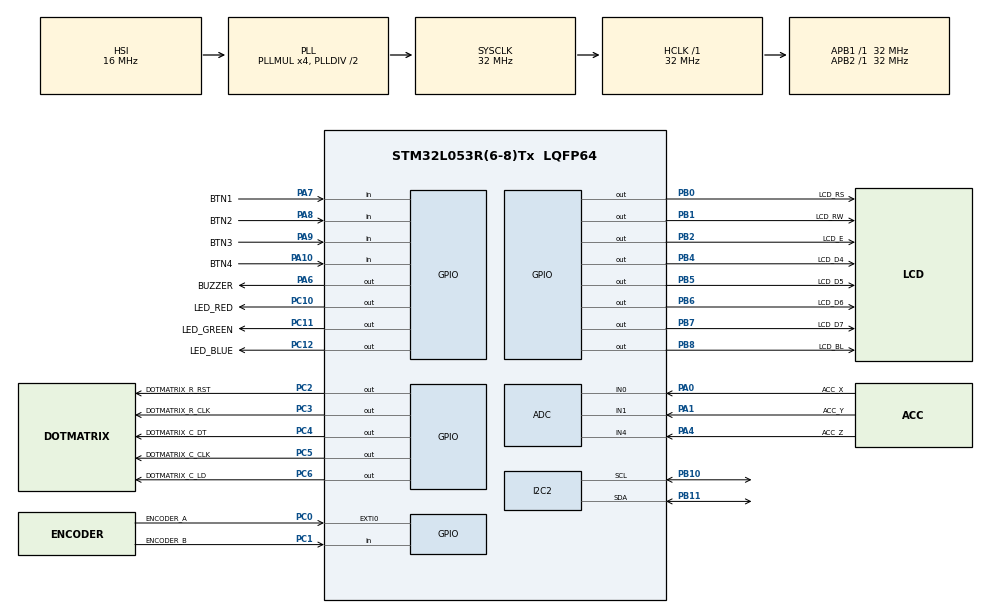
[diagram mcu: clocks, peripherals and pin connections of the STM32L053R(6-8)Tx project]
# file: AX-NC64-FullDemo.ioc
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ADC.ContinuousConvMode=ENABLE
ADC.DMAContinuousRequests=ENABLE
ADC.SamplingTime=ADC_SAMPLETIME_160CYCLES_5
Dma.ADC.0.Direction=DMA_PERIPH_TO_MEMORY
Dma.ADC.0.Instance=DMA1_Channel1
Dma.ADC.0.MemDataAlignment=DMA_MDATAALIGN_HALFWORD
Dma.ADC.0.MemInc=DMA_MINC_ENABLE
Dma.ADC.0.Mode=DMA_CIRCULAR
Dma.ADC.0.PeriphDataAlignment=DMA_PDATAALIGN_HALFWORD
Dma.ADC.0.PeriphInc=DMA_PINC_DISABLE
Dma.ADC.0.Priority=DMA_PRIORITY_LOW
Dma.Request0=ADC
FREERTOS.Tasks01=defaultTask,0,64,StartDefaultTask,Default,NULL,Dynamic,NULL,NULL;DotMatrix,-3,64,DotMatrixTask,Default,NULL,Dynamic,NULL,NULL;LCD,-3,64,LCDTask,Default,NULL,Dynamic,NULL,NULL;Sound,-3,64,SoundTask,Default,NULL,Dynamic,NULL,NULL
FREERTOS.configMINIMAL_STACK_SIZE=64
I2C2.Timing=0x00707CBB
Mcu.Family=STM32L0
Mcu.Name=STM32L053R(6-8)Tx
Mcu.Package=LQFP64
NVIC.DMA1_Channel1_IRQn=true\:3\:0\:false\:false\:true\:true\:false\:true
NVIC.EXTI0_1_IRQn=true\:3\:0\:false\:false\:true\:true\:true\:true
NVIC.TIM2_IRQn=true\:3\:0\:false\:false\:true\:true\:true\:true
PA0.GPIO_Label=ACC_X
PA0.Mode=IN0
PA0.Signal=ADC_IN0
PA1.GPIO_Label=ACC_Y
PA1.Mode=IN1
PA1.Signal=ADC_IN1
PA10.GPIO_Label=BTN4
PA10.Signal=GPIO_Input
PA4.GPIO_Label=ACC_Z
PA4.Mode=IN4
PA4.Signal=ADC_IN4
PA6.GPIO_Label=BUZZER
PA6.Signal=GPIO_Output
PA7.GPIO_Label=BTN1
PA7.Signal=GPIO_Input
PA8.GPIO_Label=BTN2
PA8.Signal=GPIO_Input
PA9.GPIO_Label=BTN3
PA9.Signal=GPIO_Input
PB0.GPIO_Label=LCD_RS
PB0.Signal=GPIO_Output
PB1.GPIO_Label=LCD_RW
PB1.Signal=GPIO_Output
PB10.Mode=I2C
PB10.Signal=I2C2_SCL
PB11.Mode=I2C
PB11.Signal=I2C2_SDA
PB2.GPIO_Label=LCD_E
PB2.Signal=GPIO_Output
PB4.GPIO_Label=LCD_D4
PB4.Signal=GPIO_Output
PB5.GPIO_Label=LCD_D5
PB5.Signal=GPIO_Output
PB6.GPIO_Label=LCD_D6
PB6.Signal=GPIO_Output
PB7.GPIO_Label=LCD_D7
PB7.Signal=GPIO_Output
PB8.GPIO_Label=LCD_BL
PB8.Signal=GPIO_Output
PC0.GPIO_Label=ENCODER_A
PC0.Signal=GPXTI0
PC1.GPIO_Label=ENCODER_B
PC1.Signal=GPIO_Input
PC10.GPIO_Label=LED_RED
PC10.Signal=GPIO_Output
PC11.GPIO_Label=LED_GREEN
PC11.Signal=GPIO_Output
PC12.GPIO_Label=LED_BLUE
PC12.Signal=GPIO_Output
PC2.GPIO_Label=DOTMATRIX_R_RST
PC2.Signal=GPIO_Output
PC3.GPIO_Label=DOTMATRIX_R_CLK
PC3.Signal=GPIO_Output
PC4.GPIO_Label=DOTMATRIX_C_DT
PC4.Signal=GPIO_Output
PC5.GPIO_Label=DOTMATRIX_C_CLK
PC5.Signal=GPIO_Output
PC6.GPIO_Label=DOTMATRIX_C_LD
PC6.Signal=GPIO_Output
ProjectManager.HeapSize=0x200
ProjectManager.StackSize=0x400
ProjectManager.TargetToolchain=MDK-ARM V5
RCC.AHBFreq_Value=32000000
RCC.APB1Freq_Value=32000000
RCC.APB1TimFreq_Value=32000000
RCC.APB2Freq_Value=32000000
RCC.APB2TimFreq_Value=32000000
RCC.HCLKFreq_Value=32000000
RCC.HSE_VALUE=8000000
RCC.HSI16_VALUE=16000000
RCC.HSI48_VALUE=48000000
RCC.HSI_VALUE=16000000
RCC.LSE_VALUE=32768
RCC.MSI_VALUE=2097000
RCC.PLLMUL=RCC_PLLMUL_4
RCC.SYSCLKFreq_VALUE=32000000
RCC.SYSCLKSource=RCC_SYSCLKSOURCE_PLLCLK
RCC.VCOOutputFreq_Value=64000000
TIM2.Channel-Output\ Compare1\ No\ Output=TIM_CHANNEL_1
TIM2.Period=1000
TIM2.Prescaler=1
VP_FREERTOS_VS_CMSIS_V1.Mode=CMSIS_V1
VP_TIM2_VS_no_output1.Mode=Output Compare1 No Output
board=custom

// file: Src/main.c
/* USER CODE BEGIN Header */
/**
  ******************************************************************************
  * @file           : main.c
  * @brief          : Main program body
  ******************************************************************************
  * @attention
  *
  * <h2><center>&copy; Copyright (c) 2019 STMicroelectronics.
  * All rights reserved.</center></h2>
  *
  * This software component is licensed by ST under BSD 3-Clause license,
  * the "License"; You may not use this file except in compliance with the
  * License. You may obtain a copy of the License at:
  *                        opensource.org/licenses/BSD-3-Clause
  *
  ******************************************************************************
  */
/* USER CODE END Header */

#include "main.h"
#include "cmsis_os.h"

/* USER CODE BEGIN Includes */
#include <stdio.h>
#include <string.h>
/* USER CODE END Includes */

/* USER CODE BEGIN PM */
// Internal Macros
#define HEX__(n) 0x##n##LU
#define B8__(x) ((x&0x0000000FLU)?1:0) \
+((x&0x000000F0LU)?2:0) \
+((x&0x00000F00LU)?4:0) \
+((x&0x0000F000LU)?8:0) \
+((x&0x000F0000LU)?16:0) \
+((x&0x00F00000LU)?32:0) \
+((x&0x0F000000LU)?64:0) \
+((x&0xF0000000LU)?128:0)

// User-visible Macros
#define B8(d) ((unsigned char)B8__(HEX__(d)))
#define B16(dmsb,dlsb) (((unsigned short)B8(dmsb)<<8) + B8(dlsb))
#define B32(dmsb,db2,db3,dlsb) \
(((unsigned long)B8(dmsb)<<24) \
+ ((unsigned long)B8(db2)<<16) \
+ ((unsigned long)B8(db3)<<8) \
+ B8(dlsb))
/* USER CODE END PM */

ADC_HandleTypeDef hadc;
DMA_HandleTypeDef hdma_adc;

I2C_HandleTypeDef hi2c2;

TIM_HandleTypeDef htim2;

osThreadId defaultTaskHandle;
osThreadId DotMatrixHandle;
osThreadId LCDHandle;
osThreadId SoundHandle;

void SystemClock_Config(void);
static void MX_GPIO_Init(void);
static void MX_DMA_Init(void);
static void MX_ADC_Init(void);
static void MX_I2C2_Init(void);
static void MX_TIM2_Init(void);
void StartDefaultTask(void const * argument);
void DotMatrixTask(void const * argument);
void LCDTask(void const * argument);
void SoundTask(void const * argument);

/* USER CODE BEGIN PFP */
uint8_t mode = 0;
/* USER CODE END PFP */

/* USER CODE BEGIN 0 */

// ============ LCD ============
#define LCD_COMMAND 0
#define LCD_DATA    1

void lcd_nop() {
	HAL_Delay(1);
	HAL_GPIO_WritePin(LCD_E_GPIO_Port, LCD_E_Pin, 1);
	HAL_Delay(1);
	HAL_GPIO_WritePin(LCD_E_GPIO_Port, LCD_E_Pin, 0);
}

void lcd_data(uint8_t data) {
	HAL_GPIO_WritePin(LCD_D4_GPIO_Port, LCD_D4_Pin, (data&0x10) != 0 ? 1 : 0);
	HAL_GPIO_WritePin(LCD_D5_GPIO_Port, LCD_D5_Pin, (data&0x20) != 0 ? 1 : 0);
	HAL_GPIO_WritePin(LCD_D6_GPIO_Port, LCD_D6_Pin, (data&0x40) != 0 ? 1 : 0);
	HAL_GPIO_WritePin(LCD_D7_GPIO_Port, LCD_D7_Pin, (data&0x80) != 0 ? 1 : 0);
}

void lcd_write(uint8_t command_or_data, uint8_t data) {
	HAL_GPIO_WritePin(LCD_RS_GPIO_Port, LCD_RS_Pin, command_or_data);

	lcd_data(data&0xF0);
	lcd_nop();
	lcd_data(data<<4);
	lcd_nop();
}

void lcd_set_cursor(uint8_t line, uint8_t b) {
  lcd_write(LCD_COMMAND, (line==1 ? 0x80 : 0xC0) + b);
}

void lcd_print(char *buf) {
	int index=0;
  while(buf[index] != 0) {
    lcd_write(LCD_DATA, buf[index]);
    index++;
  }
}

void lcd_clear() {
	lcd_write(LCD_COMMAND, 0x01);
}

void lcd_init() {
	HAL_GPIO_WritePin(LCD_BL_GPIO_Port, LCD_BL_Pin, 1);

	HAL_Delay(20);

	HAL_GPIO_WritePin(LCD_RS_GPIO_Port, LCD_RS_Pin, 0);
	HAL_GPIO_WritePin(LCD_E_GPIO_Port, LCD_E_Pin, 0);

	lcd_data(0x30);
	lcd_nop();
	lcd_nop();
	lcd_nop();
	lcd_data(0x20);
	lcd_nop();
	lcd_nop();
	lcd_data(0x10);
	lcd_nop();
	lcd_data(0x00);
	lcd_nop();
	lcd_data(0xC0); // 0xD0 Show Cuser, 0xC0 Hide Cuser
	lcd_nop();

	lcd_write(LCD_COMMAND, 0x28);
	lcd_clear();
}
// ============ END of LCD ============

// ============ RTC ============
#define DS1307_ADDR (0x68<<1)

uint8_t bcd2dec(uint8_t num) {
  return ((num/16 * 10) + (num % 16));
}

uint8_t read_time(uint8_t *hour, uint8_t *min, uint8_t *sec, uint8_t *date, uint8_t *month, uint8_t *year) {
	uint8_t buff[7];

	// Set address to read
	buff[0] = 0x0; // read start at address 0x0
	if (HAL_I2C_Master_Transmit(&hi2c2, DS1307_ADDR, buff, 1, 100) == HAL_ERROR) {
		// Fail !, Write error !
		return 0;
	}

	// HAL_Delay(1);

	// Read 7 bytes
	if (HAL_I2C_Master_Receive(&hi2c2, DS1307_ADDR, buff, 7, 100) == HAL_ERROR) {
		// Fail !, read error !
		return 0;
	}

	*sec = bcd2dec(buff[0] & 0x7f);
	*min = bcd2dec(buff[1]);
	*hour = bcd2dec(buff[2] & 0x3f);
	*date = bcd2dec(buff[4]);
	*month = bcd2dec(buff[5]);
	*year = bcd2dec(buff[6]);

	return 1;
}
// ============ END of RTC ============

// ============== Dot Matrix ==============
uint8_t font_6_8[] = {
	0x00, 0x00, 0x00, 0x00, 0x00, 0x00,  // 0x00
	0x00, 0x7c, 0xa2, 0x8a, 0xa2, 0x7c,  // 0x01
	0x00, 0x7c, 0xd6, 0xf6, 0xd6, 0x7c,  // 0x02
	0x00, 0x38, 0x7c, 0x3e, 0x7c, 0x38,  // 0x03
	0x00, 0x18, 0x3c, 0x7e, 0x3c, 0x18,  // 0x04
	0x00, 0x0c, 0x6c, 0xfe, 0x6c, 0x0c,  // 0x05
	0x00, 0x18, 0x3a, 0x7e, 0x3a, 0x18,  // 0x06
	0x00, 0x00, 0x00, 0x00, 0x00, 0x00,  // 0x07
	0x00, 0x00, 0x00, 0x00, 0x00, 0x00,  // 0x08
	0x00, 0x00, 0x00, 0x00, 0x00, 0x00,  // 0x09
	0x00, 0x00, 0x00, 0x00, 0x00, 0x00,  // 0x0a
	0x00, 0x0c, 0x12, 0x52, 0x6c, 0x70,  // 0x0b
	0x00, 0x60, 0x94, 0x9e, 0x94, 0x60,  // 0x0c
	0x00, 0x00, 0x00, 0x00, 0x00, 0x00,  // 0x0d
	0x00, 0x06, 0x7e, 0x50, 0xac, 0xfc,  // 0x0e
	0x00, 0x54, 0x38, 0x6c, 0x38, 0x54,  // 0x0f
	0x00, 0x00, 0xfe, 0x7c, 0x38, 0x10,  // 0x10
	0x00, 0x10, 0x38, 0x7c, 0xfe, 0x00,  // 0x11
	0x00, 0x28, 0x6c, 0xfe, 0x6c, 0x28,  // 0x12
	0x00, 0x00, 0xfa, 0x00, 0xfa, 0x00,  // 0x13
	0x00, 0x60, 0x90, 0xfe, 0x80, 0xfe,  // 0x14
	0x00, 0x44, 0xb2, 0xaa, 0x9a, 0x44,  // 0x15
	0x00, 0x06, 0x06, 0x06, 0x06, 0x00,  // 0x16
	0x00, 0x28, 0x6d, 0xff, 0x6d, 0x28,  // 0x17
	0x00, 0x20, 0x60, 0xfe, 0x60, 0x20,  // 0x18
	0x00, 0x08, 0x0c, 0xfe, 0x0c, 0x08,  // 0x19
	0x00, 0x10, 0x10, 0x7c, 0x38, 0x10,  // 0x1a
	0x00, 0x10, 0x38, 0x7c, 0x10, 0x10,  // 0x1b
	0x00, 0x1e, 0x02, 0x02, 0x02, 0x02,  // 0x1c
	0x00, 0x10, 0x7c, 0x10, 0x7c, 0x10,  // 0x1d
	0x00, 0x0c, 0x3c, 0xfc, 0x3c, 0x0c,  // 0x1e
	0x00, 0xc0, 0xf0, 0xfc, 0xf0, 0xc0,  // 0x1f
	0x00, 0x00, 0x00, 0x00, 0x00, 0x00,  // 0x20
	0x00, 0x00, 0x60, 0xfa, 0x60, 0x00,  // 0x21
	0x00, 0xe0, 0xc0, 0x00, 0xe0, 0xc0,  // 0x22
	0x00, 0x24, 0x7e, 0x24, 0x7e, 0x24,  // 0x23
	0x00, 0x24, 0xd4, 0x56, 0x48, 0x00,  // 0x24
	0x00, 0xc6, 0xc8, 0x10, 0x26, 0xc6,  // 0x25
	0x00, 0x6c, 0x92, 0x6a, 0x04, 0x0a,  // 0x26
	0x00, 0x00, 0xe0, 0xc0, 0x00, 0x00,  // 0x27
	0x00, 0x00, 0x7c, 0x82, 0x00, 0x00,  // 0x28
	0x00, 0x00, 0x82, 0x7c, 0x00, 0x00,  // 0x29
	0x00, 0x10, 0x7c, 0x38, 0x7c, 0x10,  // 0x2a
	0x00, 0x10, 0x10, 0x7c, 0x10, 0x10,  // 0x2b
	0x00, 0x00, 0x07, 0x06, 0x00, 0x00,  // 0x2c
	0x00, 0x10, 0x10, 0x10, 0x10, 0x10,  // 0x2d
	0x00, 0x00, 0x06, 0x06, 0x00, 0x00,  // 0x2e
	0x00, 0x04, 0x08, 0x10, 0x20, 0x40,  // 0x2f
	0x00, 0x7c, 0x8a, 0x92, 0xa2, 0x7c,  // 0x30
	0x00, 0x00, 0x42, 0xfe, 0x02, 0x00,  // 0x31
	0x00, 0x46, 0x8a, 0x92, 0x92, 0x62,  // 0x32
	0x00, 0x44, 0x92, 0x92, 0x92, 0x6c,  // 0x33
	0x00, 0x18, 0x28, 0x48, 0xfe, 0x08,  // 0x34
	0x00, 0xf4, 0x92, 0x92, 0x92, 0x8c,  // 0x35
	0x00, 0x3c, 0x52, 0x92, 0x92, 0x0c,  // 0x36
	0x00, 0x80, 0x8e, 0x90, 0xa0, 0xc0,  // 0x37
	0x00, 0x6c, 0x92, 0x92, 0x92, 0x6c,  // 0x38
	0x00, 0x60, 0x92, 0x92, 0x94, 0x78,  // 0x39
	0x00, 0x00, 0x36, 0x36, 0x00, 0x00,  // 0x3a
	0x00, 0x00, 0x37, 0x36, 0x00, 0x00,  // 0x3b
	0x00, 0x10, 0x28, 0x44, 0x82, 0x00,  // 0x3c
	0x00, 0x24, 0x24, 0x24, 0x24, 0x24,  // 0x3d
	0x00, 0x00, 0x82, 0x44, 0x28, 0x10,  // 0x3e
	0x00, 0x40, 0x80, 0x9a, 0x90, 0x60,  // 0x3f
	0x00, 0x7c, 0x82, 0xba, 0xaa, 0x78,  // 0x40
	0x00, 0x7e, 0x88, 0x88, 0x88, 0x7e,  // 0x41
	0x00, 0xfe, 0x92, 0x92, 0x92, 0x6c,  // 0x42
	0x00, 0x7c, 0x82, 0x82, 0x82, 0x44,  // 0x43
	0x00, 0xfe, 0x82, 0x82, 0x82, 0x7c,  // 0x44
	0x00, 0xfe, 0x92, 0x92, 0x92, 0x82,  // 0x45
	0x00, 0xfe, 0x90, 0x90, 0x90, 0x80,  // 0x46
	0x00, 0x7c, 0x82, 0x92, 0x92, 0x5e,  // 0x47
	0x00, 0xfe, 0x10, 0x10, 0x10, 0xfe,  // 0x48
	0x00, 0x00, 0x82, 0xfe, 0x82, 0x00,  // 0x49
	0x00, 0x0c, 0x02, 0x02, 0x02, 0xfc,  // 0x4a
	0x00, 0xfe, 0x10, 0x28, 0x44, 0x82,  // 0x4b
	0x00, 0xfe, 0x02, 0x02, 0x02, 0x02,  // 0x4c
	0x00, 0xfe, 0x40, 0x20, 0x40, 0xfe,  // 0x4d
	0x00, 0xfe, 0x40, 0x20, 0x10, 0xfe,  // 0x4e
	0x00, 0x7c, 0x82, 0x82, 0x82, 0x7c,  // 0x4f
	0x00, 0xfe, 0x90, 0x90, 0x90, 0x60,  // 0x50
	0x00, 0x7c, 0x82, 0x8a, 0x84, 0x7a,  // 0x51
	0x00, 0xfe, 0x90, 0x90, 0x98, 0x66,  // 0x52
	0x00, 0x64, 0x92, 0x92, 0x92, 0x4c,  // 0x53
	0x00, 0x80, 0x80, 0xfe, 0x80, 0x80,  // 0x54
	0x00, 0xfc, 0x02, 0x02, 0x02, 0xfc,  // 0x55
	0x00, 0xf8, 0x04, 0x02, 0x04, 0xf8,  // 0x56
	0x00, 0xfc, 0x02, 0x3c, 0x02, 0xfc,  // 0x57
	0x00, 0xc6, 0x28, 0x10, 0x28, 0xc6,  // 0x58
	0x00, 0xe0, 0x10, 0x0e, 0x10, 0xe0,  // 0x59
	0x00, 0x8e, 0x92, 0xa2, 0xc2, 0x00,  // 0x5a
	0x00, 0x00, 0xfe, 0x82, 0x82, 0x00,  // 0x5b
	0x00, 0x40, 0x20, 0x10, 0x08, 0x04,  // 0x5c
	0x00, 0x00, 0x82, 0x82, 0xfe, 0x00,  // 0x5d
	0x00, 0x20, 0x40, 0x80, 0x40, 0x20,  // 0x5e
	0x01, 0x01, 0x01, 0x01, 0x01, 0x01,  // 0x5f
	0x00, 0x00, 0xc0, 0xe0, 0x00, 0x00,  // 0x60
	0x00, 0x04, 0x2a, 0x2a, 0x2a, 0x1e,  // 0x61
	0x00, 0xfe, 0x22, 0x22, 0x22, 0x1c,  // 0x62
	0x00, 0x1c, 0x22, 0x22, 0x22, 0x04,  // 0x63 'c' = 0x00, 0x1c, 0x22, 0x22, 0x22, 0x14
	0x00, 0x1c, 0x22, 0x22, 0x22, 0xfe,  // 0x64
	0x00, 0x1c, 0x2a, 0x2a, 0x2a, 0x10,  // 0x65
	0x00, 0x10, 0x7e, 0x90, 0x90, 0x00,  // 0x66
	0x00, 0x18, 0x25, 0x25, 0x25, 0x3e,  // 0x67
	0x00, 0xfe, 0x20, 0x20, 0x1e, 0x00,  // 0x68
	0x00, 0x00, 0x00, 0x5e, 0x02, 0x00,  // 0x69 'i' = 0x00, 0x00, 0x00, 0xbe, 0x02, 0x00
	0x00, 0x02, 0x01, 0x21, 0xbe, 0x00,  // 0x6a
	0x00, 0xfe, 0x08, 0x14, 0x22, 0x00,  // 0x6b
	0x00, 0x00, 0x00, 0xfe, 0x02, 0x00,  // 0x6c
	0x00, 0x3e, 0x20, 0x18, 0x20, 0x1e,  // 0x6d
	0x00, 0x3e, 0x20, 0x20, 0x1e, 0x00,  // 0x6e
	0x00, 0x1c, 0x22, 0x22, 0x22, 0x1c,  // 0x6f
	0x00, 0x3f, 0x22, 0x22, 0x22, 0x1c,  // 0x70
	0x00, 0x1c, 0x22, 0x22, 0x22, 0x3f,  // 0x71
	0x00, 0x22, 0x1e, 0x22, 0x20, 0x10,  // 0x72
	0x00, 0x10, 0x2a, 0x2a, 0x2a, 0x04,  // 0x73
	0x00, 0x20, 0x7c, 0x22, 0x24, 0x00,  // 0x74
	0x00, 0x3c, 0x02, 0x04, 0x3e, 0x00,  // 0x75
	0x00, 0x38, 0x04, 0x02, 0x04, 0x38,  // 0x76
	0x00, 0x3c, 0x06, 0x0c, 0x06, 0x3c,  // 0x77
	0x00, 0x36, 0x08, 0x08, 0x36, 0x00,  // 0x78
	0x00, 0x39, 0x05, 0x06, 0x3c, 0x00,  // 0x79
	0x00, 0x26, 0x2a, 0x2a, 0x32, 0x00,  // 0x7a
	0x00, 0x10, 0x7c, 0x82, 0x82, 0x00,  // 0x7b
	0x00, 0x00, 0x00, 0xee, 0x00, 0x00,  // 0x7c
	0x00, 0x00, 0x82, 0x82, 0x7c, 0x10,  // 0x7d
	0x00, 0x40, 0x80, 0x40, 0x80, 0x00,  // 0x7e
	0x00, 0x3c, 0x64, 0xc4, 0x64, 0x3c,  // 0x7f
	0x00, 0x78, 0x85, 0x87, 0x84, 0x48,  // 0x80
	0x00, 0xbc, 0x02, 0x04, 0xbe, 0x00,  // 0x81
	0x00, 0x1c, 0x2a, 0x2a, 0xaa, 0x90,  // 0x82
	0x00, 0x04, 0xaa, 0xaa, 0xaa, 0x1e,  // 0x83
	0x00, 0x04, 0xaa, 0x2a, 0xaa, 0x1e,  // 0x84
	0x00, 0x04, 0xaa, 0xaa, 0x2a, 0x1e,  // 0x85
	0x00, 0x04, 0xea, 0xaa, 0xea, 0x1e,  // 0x86
	0x00, 0x38, 0x45, 0x47, 0x44, 0x28,  // 0x87
	0x00, 0x1c, 0xaa, 0xaa, 0xaa, 0x10,  // 0x88
	0x00, 0x1c, 0xaa, 0x2a, 0xaa, 0x10,  // 0x89
	0x00, 0x1c, 0xaa, 0xaa, 0x2a, 0x10,  // 0x8a
	0x00, 0x00, 0x80, 0x3e, 0x82, 0x00,  // 0x8b
	0x00, 0x00, 0x80, 0xbe, 0x82, 0x00,  // 0x8c
	0x00, 0x00, 0x80, 0x3e, 0x02, 0x00,  // 0x8d
	0x00, 0x0e, 0x94, 0x24, 0x94, 0x0e,  // 0x8e
	0x00, 0x1e, 0xf4, 0xa4, 0xf4, 0x1e,  // 0x8f
	0x00, 0x3e, 0x2a, 0x2a, 0xaa, 0xa2,  // 0x90
	0x00, 0x2c, 0x2a, 0x3e, 0x2a, 0x1a,  // 0x91
	0x00, 0x7e, 0x90, 0xfe, 0x92, 0x92,  // 0x92
	0x00, 0x1c, 0xa2, 0xa2, 0x9c, 0x00,  // 0x93
	0x00, 0x1c, 0xa2, 0x22, 0x9c, 0x00,  // 0x94
	0x00, 0x9c, 0xa2, 0x22, 0x1c, 0x00,  // 0x95
	0x00, 0x3c, 0x82, 0x84, 0xbe, 0x00,  // 0x96
	0x00, 0xbc, 0x82, 0x04, 0x3e, 0x00,  // 0x97
	0x00, 0x39, 0x85, 0x06, 0xbc, 0x00,  // 0x98
	0x00, 0xbc, 0x42, 0x42, 0xbc, 0x00,  // 0x99
	0x00, 0x3c, 0x82, 0x02, 0xbc, 0x00,  // 0x9a
	0x01, 0x0e, 0x16, 0x1a, 0x1c, 0x20,  // 0x9b
	0x00, 0x12, 0x7c, 0x92, 0x92, 0x46,  // 0x9c
	0x00, 0x7e, 0x86, 0xba, 0xc2, 0xfc,  // 0x9d
	0x00, 0x44, 0x28, 0x10, 0x28, 0x44,  // 0x9e
	0x00, 0x02, 0x11, 0x7e, 0x90, 0x40,  // 0x9f
	0x00, 0x04, 0x2a, 0xaa, 0xaa, 0x1e,  // 0xa0
	0x00, 0x00, 0x00, 0xbe, 0x82, 0x00,  // 0xa1
	0x00, 0x1c, 0x22, 0xa2, 0x9c, 0x00,  // 0xa2
	0x00, 0x3c, 0x02, 0x84, 0xbe, 0x00,  // 0xa3
	0x00, 0x5e, 0x90, 0x50, 0x8e, 0x00,  // 0xa4
	0x00, 0x5e, 0x88, 0x44, 0x9e, 0x00,  // 0xa5
	0x00, 0x10, 0xaa, 0xaa, 0xaa, 0x7a,  // 0xa6
	0x00, 0x72, 0x8a, 0x8a, 0x72, 0x00,  // 0xa7
	0x00, 0x0c, 0x12, 0xb2, 0x02, 0x04,  // 0xa8
	0x7c, 0x82, 0xba, 0xd2, 0xaa, 0x7c,  // 0xa9
	0x20, 0x20, 0x20, 0x20, 0x20, 0x38,  // 0xaa
	0x00, 0xe8, 0x10, 0x32, 0x56, 0x0a,  // 0xab
	0x00, 0xe8, 0x10, 0x2c, 0x54, 0x1e,  // 0xac
	0x00, 0x00, 0x0c, 0xbe, 0x0c, 0x00,  // 0xad
	0x00, 0x10, 0x28, 0x00, 0x10, 0x28,  // 0xae
	0x00, 0x28, 0x10, 0x00, 0x28, 0x10,  // 0xaf
	0x22, 0x88, 0x22, 0x88, 0x22, 0x88,  // 0xb0
	0x55, 0xaa, 0x55, 0xaa, 0x55, 0xaa,  // 0xb1
	0xdd, 0x77, 0xdd, 0x77, 0xdd, 0x77,  // 0xb2
	0x00, 0x00, 0x00, 0xff, 0x00, 0x00,  // 0xb3
	0x10, 0x10, 0x10, 0xff, 0x00, 0x00,  // 0xb4
	0x00, 0x0e, 0x14, 0xa4, 0x94, 0x0e,  // 0xb5
	0x00, 0x0e, 0x94, 0xa4, 0x94, 0x0e,  // 0xb6
	0x00, 0x0e, 0x94, 0xa4, 0x14, 0x0e,  // 0xb7
	0x7c, 0x82, 0xba, 0xaa, 0x82, 0x7c,  // 0xb8
	0x50, 0xdf, 0x00, 0xff, 0x00, 0x00,  // 0xb9
	0x00, 0xff, 0x00, 0xff, 0x00, 0x00,  // 0xba
	0x50, 0x5f, 0x40, 0x7f, 0x00, 0x00,  // 0xbb
	0x50, 0xd0, 0x10, 0xf0, 0x00, 0x00,  // 0xbc
	0x00, 0x18, 0x24, 0x66, 0x24, 0x00,  // 0xbd
	0x00, 0x94, 0x54, 0x3e, 0x54, 0x94,  // 0xbe
	0x10, 0x10, 0x10, 0x1f, 0x00, 0x00,  // 0xbf
	0x00, 0x00, 0x00, 0xf0, 0x10, 0x10,  // 0xc0
	0x10, 0x10, 0x10, 0xf0, 0x10, 0x10,  // 0xc1
	0x10, 0x10, 0x10, 0x1f, 0x10, 0x10,  // 0xc2
	0x00, 0x00, 0x00, 0xff, 0x10, 0x10,  // 0xc3
	0x10, 0x10, 0x10, 0x10, 0x10, 0x10,  // 0xc4
	0x10, 0x10, 0x10, 0xff, 0x10, 0x10,  // 0xc5
	0x00, 0x04, 0x6a, 0xaa, 0x6a, 0x9e,  // 0xc6
	0x00, 0x0e, 0x54, 0xa4, 0x54, 0x8e,  // 0xc7
	0x00, 0xf0, 0x10, 0xd0, 0x50, 0x50,  // 0xc8
	0x00, 0x7f, 0x40, 0x5f, 0x50, 0x50,  // 0xc9
	0x50, 0xd0, 0x10, 0xd0, 0x50, 0x50,  // 0xca
	0x50, 0x5f, 0x40, 0x5f, 0x50, 0x50,  // 0xcb
	0x00, 0xff, 0x00, 0xdf, 0x50, 0x50,  // 0xcc
	0x50, 0x50, 0x50, 0x50, 0x50, 0x50,  // 0xcd
	0x50, 0xdf, 0x00, 0xdf, 0x50, 0x50,  // 0xce
	0x00, 0xba, 0x44, 0x44, 0x44, 0xba,  // 0xcf
	0x00, 0x44, 0xaa, 0x9a, 0x0c, 0x00,  // 0xd0
	0x00, 0x10, 0xfe, 0x92, 0x82, 0x7c,  // 0xd1
	0x00, 0x3e, 0xaa, 0xaa, 0xaa, 0x22,  // 0xd2
	0x00, 0x3e, 0xaa, 0x2a, 0xaa, 0x22,  // 0xd3
	0x00, 0x3e, 0xaa, 0xaa, 0x2a, 0x22,  // 0xd4
	0x00, 0x00, 0x00, 0xe0, 0x00, 0x00,  // 0xd5
	0x00, 0x00, 0x22, 0xbe, 0xa2, 0x00,  // 0xd6
	0x00, 0x00, 0xa2, 0xbe, 0xa2, 0x00,  // 0xd7
	0x00, 0x00, 0xa2, 0x3e, 0xa2, 0x00,  // 0xd8
	0x10, 0x10, 0x10, 0xf0, 0x00, 0x00,  // 0xd9
	0x00, 0x00, 0x00, 0x1f, 0x10, 0x10,  // 0xda
	0xff, 0xff, 0xff, 0xff, 0xff, 0xff,  // 0xdb
	0x0f, 0x0f, 0x0f, 0x0f, 0x0f, 0x0f,  // 0xdc
	0x00, 0x00, 0x00, 0xee, 0x00, 0x00,  // 0xdd
	0x00, 0x00, 0xa2, 0xbe, 0x22, 0x00,  // 0xde
	0xf0, 0xf0, 0xf0, 0xf0, 0xf0, 0xf0,  // 0xdf
	0x00, 0x3c, 0x42, 0xc2, 0xbc, 0x00,  // 0xe0
	0x00, 0x7f, 0x52, 0x52, 0x2c, 0x00,  // 0xe1
	0x00, 0x3c, 0xc2, 0xc2, 0xbc, 0x00,  // 0xe2
	0x00, 0xbc, 0xc2, 0x42, 0x3c, 0x00,  // 0xe3
	0x00, 0x4c, 0x92, 0x52, 0x8c, 0x00,  // 0xe4
	0x00, 0x5c, 0xa2, 0x62, 0x9c, 0x00,  // 0xe5
	0x00, 0x3f, 0x04, 0x04, 0x38, 0x00,  // 0xe6
	0x00, 0x7f, 0x55, 0x14, 0x08, 0x00,  // 0xe7
	0x00, 0xff, 0xa5, 0x24, 0x18, 0x00,  // 0xe8
	0x00, 0x3c, 0x02, 0x82, 0xbc, 0x00,  // 0xe9
	0x00, 0x3c, 0x82, 0x82, 0xbc, 0x00,  // 0xea
	0x00, 0xbc, 0x82, 0x02, 0x3c, 0x00,  // 0xeb
	0x00, 0x39, 0x05, 0x86, 0xbc, 0x00,  // 0xec
	0x00, 0x20, 0x10, 0x8e, 0x90, 0x20,  // 0xed
	0x00, 0x00, 0x40, 0x40, 0x40, 0x00,  // 0xee
	0x00, 0x00, 0xe0, 0xc0, 0x00, 0x00,  // 0xef
	0x00, 0x00, 0x10, 0x10, 0x10, 0x00,  // 0xf0
	0x00, 0x00, 0x24, 0x74, 0x24, 0x00,  // 0xf1
	0x00, 0x24, 0x24, 0x24, 0x24, 0x24,  // 0xf2
	0xa0, 0xe8, 0x50, 0x2c, 0x54, 0x1e,  // 0xf3
	0x00, 0x60, 0x90, 0xfe, 0x80, 0xfe,  // 0xf4
	0x00, 0x44, 0xb2, 0xaa, 0x9a, 0x44,  // 0xf5
	0x00, 0x10, 0x10, 0x54, 0x10, 0x10,  // 0xf6
	0x00, 0x00, 0x10, 0x18, 0x18, 0x00,  // 0xf7
	0x00, 0x60, 0x90, 0x90, 0x60, 0x00,  // 0xf8
	0x00, 0x00, 0x10, 0x00, 0x10, 0x00,  // 0xf9
	0x00, 0x00, 0x10, 0x00, 0x00, 0x00,  // 0xfa
	0x00, 0x40, 0xf0, 0x00, 0x00, 0x00,  // 0xfb
	0x00, 0x90, 0xf0, 0xa0, 0x00, 0x00,  // 0xfc
	0x00, 0x90, 0xb0, 0x50, 0x00, 0x00,  // 0xfd
	0x00, 0x3c, 0x3c, 0x3c, 0x3c, 0x00,  // 0xfe
	0x00, 0x00, 0x00, 0x00, 0x00, 0x00  // 0xff
};

void shiftOut(uint8_t data) {
  for (int ibit=7;ibit>=0;ibit--) {
    HAL_GPIO_WritePin(DOTMATRIX_C_DT_GPIO_Port, DOTMATRIX_C_DT_Pin, (data>>ibit)&0x01);

		HAL_GPIO_WritePin(DOTMATRIX_C_CLK_GPIO_Port, DOTMATRIX_C_CLK_Pin, 1);
		HAL_GPIO_WritePin(DOTMATRIX_C_CLK_GPIO_Port, DOTMATRIX_C_CLK_Pin, 0);
  }
  HAL_GPIO_WritePin(DOTMATRIX_C_LD_GPIO_Port, DOTMATRIX_C_LD_Pin, 1); // Set CS to HIGH
  HAL_GPIO_WritePin(DOTMATRIX_C_LD_GPIO_Port, DOTMATRIX_C_LD_Pin, 0); // Set CS to LOW
}

void resetCounter() {
	HAL_GPIO_WritePin(DOTMATRIX_R_RST_GPIO_Port, DOTMATRIX_R_RST_Pin, 1);
	HAL_GPIO_WritePin(DOTMATRIX_R_RST_GPIO_Port, DOTMATRIX_R_RST_Pin, 0);
}

void tickClock() {
	HAL_GPIO_WritePin(DOTMATRIX_R_CLK_GPIO_Port, DOTMATRIX_R_CLK_Pin, 1);
	HAL_GPIO_WritePin(DOTMATRIX_R_CLK_GPIO_Port, DOTMATRIX_R_CLK_Pin, 0);
}

void scan_dotmatrix(uint8_t *data) {
  for (int i=0;i<8;i++) {
    shiftOut(~data[i]);
    tickClock();
    HAL_Delay(1);
  }
  resetCounter();
}

uint8_t scan_bit = 0;
void scan_dotmatrix2(uint8_t *data) {
  if (scan_bit == 0) {
    resetCounter();
  }
  tickClock();
  shiftOut(~data[scan_bit]);
  shiftOut(0xFF);
  scan_bit = scan_bit < 8 ? scan_bit + 1 : 0;
}

void rotate(uint8_t *oldBuff, uint8_t *newBuff) {
  memset(newBuff, 0, 8);
  for(uint8_t a=0;a<8;a++) {
    for(uint8_t i=0;i<8;i++) {
      newBuff[a] |= (oldBuff[i]&(0x80>>a)) ? (1<<i) : 0;
    }
  }
}

uint8_t frame_buffer[8] = { 0, 0, 0, 0, 0, 0, 0, 0 };
void rotateToBuffer(uint8_t *c) {
  uint8_t newBuff[8];
  rotate(c, newBuff);
  memcpy(frame_buffer, newBuff, 8);
}

uint8_t buffText[(30 * 6) + (8 * 2)]; // Max 30 chars, 2 space for start and end
void showText(char *text) {
  uint8_t inx = 8;
  for(uint8_t cInx=0;cInx<strlen(text);cInx++) {
    for(uint8_t i=0;i<6;i++) {
      buffText[inx++] = font_6_8[(text[cInx] * 6) + i];
    }
  }

  for(uint8_t start=0;start<((strlen(text) * 6) + (8));start++) {
    uint8_t buff[8];
    memcpy(buff, &buffText[start], 8);
    rotateToBuffer(buff);
    HAL_Delay(100);
  }
}

void showTextAsync(char *text) {
  static uint32_t timer = 0;
  static uint8_t state = 0;

  if (state == 0) {
    uint8_t inx = 8;
    for(uint8_t cInx=0;cInx<strlen(text);cInx++) {
      for(uint8_t i=0;i<6;i++) {
        buffText[inx++] = font_6_8[(text[cInx] * 6) + i];
      }
    }
    timer = HAL_GetTick();
    state = 1;
  } else if (state == 1) {
    if ((HAL_GetTick() - timer) >= 100) {
      timer = HAL_GetTick();
      static uint8_t start=0;
      if (start<((strlen(text) * 6) + (8))) {
        uint8_t buff[8];
        memcpy(buff, &buffText[start], 8);
        rotateToBuffer(buff);

        start++;
      } else {
        start = 0;
        state = 0;
      }
    }
  }
}

void showTextRTOS(char *text) {
  uint8_t inx = 8;
  for(uint8_t cInx=0;cInx<strlen(text);cInx++) {
    for(uint8_t i=0;i<6;i++) {
      buffText[inx++] = font_6_8[(text[cInx] * 6) + i];
    }
  }

  for(uint8_t start=0;start<((strlen(text) * 6) + (8));start++) {
    uint8_t buff[8];
    memcpy(buff, &buffText[start], 8);
    rotateToBuffer(buff);
    osDelay(100);
  }
}

void showChar(char c) {
  uint8_t buff[8];
  memset(buff, 0, 8);
  memcpy(&buff[2], &font_6_8[c * 6], 6);
  rotateToBuffer(buff);
}

void HAL_TIM_PeriodElapsedCallback(TIM_HandleTypeDef *htim) {
  scan_dotmatrix2(frame_buffer);
}
// ============== END of Dot Matrix ==============

// ============== Encoder ==============
int8_t counter = 0;
void HAL_GPIO_EXTI_Callback(uint16_t GPIO_Pin) {
  if (GPIO_Pin == ENCODER_A_Pin) {
		if (HAL_GPIO_ReadPin(ENCODER_B_GPIO_Port, ENCODER_B_Pin) == 0) {
			counter++;
		} else {
			counter--;
		}

    if (counter == 0) {
      HAL_GPIO_WritePin(LED_RED_GPIO_Port, LED_RED_Pin, 0);
      HAL_GPIO_WritePin(LED_GREEN_GPIO_Port, LED_GREEN_Pin, 1);
      HAL_GPIO_WritePin(LED_BLUE_GPIO_Port, LED_BLUE_Pin, 0);
    } else if (counter <= -1) {
      HAL_GPIO_WritePin(LED_RED_GPIO_Port, LED_RED_Pin, 1);
      HAL_GPIO_WritePin(LED_GREEN_GPIO_Port, LED_GREEN_Pin, 0);
      HAL_GPIO_WritePin(LED_BLUE_GPIO_Port, LED_BLUE_Pin, 0);
      counter = -1;
    } else if (counter >= 1) {
      HAL_GPIO_WritePin(LED_RED_GPIO_Port, LED_RED_Pin, 0);
      HAL_GPIO_WritePin(LED_GREEN_GPIO_Port, LED_GREEN_Pin, 0);
      HAL_GPIO_WritePin(LED_BLUE_GPIO_Port, LED_BLUE_Pin, 1);
      counter = 1;
    }
	}
}
// ============== END of Encoder ==============

uint16_t accelerometer_value[3];

uint8_t state = 0;
/* USER CODE END 0 */

int main(void)
{

  /* MCU Configuration--------------------------------------------------------*/

  /* Reset of all peripherals, Initializes the Flash interface and the Systick. */
  HAL_Init();

  /* Configure the system clock */
  SystemClock_Config();

  /* Initialize all configured peripherals */
  MX_GPIO_Init();
  MX_DMA_Init();
  MX_ADC_Init();
  MX_I2C2_Init();
  MX_TIM2_Init();
  /* USER CODE BEGIN 2 */
  lcd_init();

  // Setup 74HC595
	HAL_GPIO_WritePin(DOTMATRIX_C_LD_GPIO_Port, DOTMATRIX_C_LD_Pin, 1); // Set CS to HIGH
	HAL_GPIO_WritePin(DOTMATRIX_C_DT_GPIO_Port, DOTMATRIX_C_DT_Pin, 0);
	HAL_GPIO_WritePin(DOTMATRIX_C_CLK_GPIO_Port, DOTMATRIX_C_CLK_Pin, 0);

	// Setup 4017
	HAL_GPIO_WritePin(DOTMATRIX_R_RST_GPIO_Port, DOTMATRIX_R_RST_Pin, 0);
	HAL_GPIO_WritePin(DOTMATRIX_R_CLK_GPIO_Port, DOTMATRIX_R_CLK_Pin, 0);

	resetCounter();
	shiftOut(0x00); // trun off all

  HAL_TIM_Base_Start_IT(&htim2);

  // Setup ADC
	HAL_ADC_Start_DMA(&hadc, (uint32_t*)accelerometer_value, 3);
  /* USER CODE END 2 */

  /* Create the thread(s) */
  /* definition and creation of defaultTask */
  osThreadDef(defaultTask, StartDefaultTask, osPriorityNormal, 0, 64);
  defaultTaskHandle = osThreadCreate(osThread(defaultTask), NULL);

  /* definition and creation of DotMatrix */
  osThreadDef(DotMatrix, DotMatrixTask, osPriorityIdle, 0, 64);
  DotMatrixHandle = osThreadCreate(osThread(DotMatrix), NULL);

  /* definition and creation of LCD */
  osThreadDef(LCD, LCDTask, osPriorityIdle, 0, 64);
  LCDHandle = osThreadCreate(osThread(LCD), NULL);

  /* definition and creation of Sound */
  osThreadDef(Sound, SoundTask, osPriorityIdle, 0, 64);
  SoundHandle = osThreadCreate(osThread(Sound), NULL);

  /* Start scheduler */
  osKernelStart();

  /* We should never get here as control is now taken by the scheduler */

  /* Infinite loop */
  /* USER CODE BEGIN WHILE */
  while (1)
  {
    osDelay(10);
    /* USER CODE END WHILE */

  }
}

void SystemClock_Config(void)
{
  RCC_OscInitTypeDef RCC_OscInitStruct = {0};
  RCC_ClkInitTypeDef RCC_ClkInitStruct = {0};

  /** Configure the main internal regulator output voltage
  */
  __HAL_PWR_VOLTAGESCALING_CONFIG(PWR_REGULATOR_VOLTAGE_SCALE1);
  /** Initializes the CPU, AHB and APB busses clocks
  */
  RCC_OscInitStruct.OscillatorType = RCC_OSCILLATORTYPE_HSI;
  RCC_OscInitStruct.HSIState = RCC_HSI_ON;
  RCC_OscInitStruct.HSICalibrationValue = RCC_HSICALIBRATION_DEFAULT;
  RCC_OscInitStruct.PLL.PLLState = RCC_PLL_ON;
  RCC_OscInitStruct.PLL.PLLSource = RCC_PLLSOURCE_HSI;
  RCC_OscInitStruct.PLL.PLLMUL = RCC_PLLMUL_4;
  RCC_OscInitStruct.PLL.PLLDIV = RCC_PLLDIV_2;
  if (HAL_RCC_OscConfig(&RCC_OscInitStruct) != HAL_OK)
  {
    Error_Handler();
  }
  /** Initializes the CPU, AHB and APB busses clocks
  */
  RCC_ClkInitStruct.ClockType = RCC_CLOCKTYPE_HCLK|RCC_CLOCKTYPE_SYSCLK
                              |RCC_CLOCKTYPE_PCLK1|RCC_CLOCKTYPE_PCLK2;
  RCC_ClkInitStruct.SYSCLKSource = RCC_SYSCLKSOURCE_PLLCLK;
  RCC_ClkInitStruct.AHBCLKDivider = RCC_SYSCLK_DIV1;
  RCC_ClkInitStruct.APB1CLKDivider = RCC_HCLK_DIV1;
  RCC_ClkInitStruct.APB2CLKDivider = RCC_HCLK_DIV1;

  if (HAL_RCC_ClockConfig(&RCC_ClkInitStruct, FLASH_LATENCY_1) != HAL_OK)
  {
    Error_Handler();
  }
}

static void MX_ADC_Init(void)
{

  ADC_ChannelConfTypeDef sConfig = {0};

  /** Configure the global features of the ADC (Clock, Resolution, Data Alignment and number of conversion)
  */
  hadc.Instance = ADC1;
  hadc.Init.OversamplingMode = DISABLE;
  hadc.Init.ClockPrescaler = ADC_CLOCK_SYNC_PCLK_DIV2;
  hadc.Init.Resolution = ADC_RESOLUTION_12B;
  hadc.Init.SamplingTime = ADC_SAMPLETIME_160CYCLES_5;
  hadc.Init.ScanConvMode = ADC_SCAN_DIRECTION_FORWARD;
  hadc.Init.DataAlign = ADC_DATAALIGN_RIGHT;
  hadc.Init.ContinuousConvMode = ENABLE;
  hadc.Init.DiscontinuousConvMode = DISABLE;
  hadc.Init.ExternalTrigConvEdge = ADC_EXTERNALTRIGCONVEDGE_NONE;
  hadc.Init.ExternalTrigConv = ADC_SOFTWARE_START;
  hadc.Init.DMAContinuousRequests = ENABLE;
  hadc.Init.EOCSelection = ADC_EOC_SINGLE_CONV;
  hadc.Init.Overrun = ADC_OVR_DATA_PRESERVED;
  hadc.Init.LowPowerAutoWait = DISABLE;
  hadc.Init.LowPowerFrequencyMode = DISABLE;
  hadc.Init.LowPowerAutoPowerOff = DISABLE;
  if (HAL_ADC_Init(&hadc) != HAL_OK)
  {
    Error_Handler();
  }
  /** Configure for the selected ADC regular channel to be converted.
  */
  sConfig.Channel = ADC_CHANNEL_0;
  sConfig.Rank = ADC_RANK_CHANNEL_NUMBER;
  if (HAL_ADC_ConfigChannel(&hadc, &sConfig) != HAL_OK)
  {
    Error_Handler();
  }
  /** Configure for the selected ADC regular channel to be converted.
  */
  sConfig.Channel = ADC_CHANNEL_1;
  if (HAL_ADC_ConfigChannel(&hadc, &sConfig) != HAL_OK)
  {
    Error_Handler();
  }
  /** Configure for the selected ADC regular channel to be converted.
  */
  sConfig.Channel = ADC_CHANNEL_4;
  if (HAL_ADC_ConfigChannel(&hadc, &sConfig) != HAL_OK)
  {
    Error_Handler();
  }

}

static void MX_I2C2_Init(void)
{

  hi2c2.Instance = I2C2;
  hi2c2.Init.Timing = 0x00707CBB;
  hi2c2.Init.OwnAddress1 = 0;
  hi2c2.Init.AddressingMode = I2C_ADDRESSINGMODE_7BIT;
  hi2c2.Init.DualAddressMode = I2C_DUALADDRESS_DISABLE;
  hi2c2.Init.OwnAddress2 = 0;
  hi2c2.Init.OwnAddress2Masks = I2C_OA2_NOMASK;
  hi2c2.Init.GeneralCallMode = I2C_GENERALCALL_DISABLE;
  hi2c2.Init.NoStretchMode = I2C_NOSTRETCH_DISABLE;
  if (HAL_I2C_Init(&hi2c2) != HAL_OK)
  {
    Error_Handler();
  }
  /** Configure Analogue filter
  */
  if (HAL_I2CEx_ConfigAnalogFilter(&hi2c2, I2C_ANALOGFILTER_ENABLE) != HAL_OK)
  {
    Error_Handler();
  }
  /** Configure Digital filter
  */
  if (HAL_I2CEx_ConfigDigitalFilter(&hi2c2, 0) != HAL_OK)
  {
    Error_Handler();
  }

}

static void MX_TIM2_Init(void)
{

  TIM_MasterConfigTypeDef sMasterConfig = {0};
  TIM_OC_InitTypeDef sConfigOC = {0};

  htim2.Instance = TIM2;
  htim2.Init.Prescaler = 1;
  htim2.Init.CounterMode = TIM_COUNTERMODE_UP;
  htim2.Init.Period = 1000;
  htim2.Init.ClockDivision = TIM_CLOCKDIVISION_DIV1;
  htim2.Init.AutoReloadPreload = TIM_AUTORELOAD_PRELOAD_DISABLE;
  if (HAL_TIM_OC_Init(&htim2) != HAL_OK)
  {
    Error_Handler();
  }
  sMasterConfig.MasterOutputTrigger = TIM_TRGO_RESET;
  sMasterConfig.MasterSlaveMode = TIM_MASTERSLAVEMODE_DISABLE;
  if (HAL_TIMEx_MasterConfigSynchronization(&htim2, &sMasterConfig) != HAL_OK)
  {
    Error_Handler();
  }
  sConfigOC.OCMode = TIM_OCMODE_TIMING;
  sConfigOC.Pulse = 0;
  sConfigOC.OCPolarity = TIM_OCPOLARITY_HIGH;
  sConfigOC.OCFastMode = TIM_OCFAST_DISABLE;
  if (HAL_TIM_OC_ConfigChannel(&htim2, &sConfigOC, TIM_CHANNEL_1) != HAL_OK)
  {
    Error_Handler();
  }

}

static void MX_DMA_Init(void)
{
  /* DMA controller clock enable */
  __HAL_RCC_DMA1_CLK_ENABLE();

  /* DMA interrupt init */
  /* DMA1_Channel1_IRQn interrupt configuration */
  HAL_NVIC_SetPriority(DMA1_Channel1_IRQn, 3, 0);
  HAL_NVIC_EnableIRQ(DMA1_Channel1_IRQn);

}

static void MX_GPIO_Init(void)
{
  GPIO_InitTypeDef GPIO_InitStruct = {0};

  /* GPIO Ports Clock Enable */
  __HAL_RCC_GPIOC_CLK_ENABLE();
  __HAL_RCC_GPIOA_CLK_ENABLE();
  __HAL_RCC_GPIOB_CLK_ENABLE();

  /*Configure GPIO pin Output Level */
  HAL_GPIO_WritePin(GPIOC, DOTMATRIX_R_RST_Pin|DOTMATRIX_R_CLK_Pin|DOTMATRIX_C_DT_Pin|DOTMATRIX_C_CLK_Pin
                          |DOTMATRIX_C_LD_Pin|LED_RED_Pin|LED_GREEN_Pin|LED_BLUE_Pin, GPIO_PIN_RESET);

  /*Configure GPIO pin Output Level */
  HAL_GPIO_WritePin(BUZZER_GPIO_Port, BUZZER_Pin, GPIO_PIN_RESET);

  /*Configure GPIO pin Output Level */
  HAL_GPIO_WritePin(GPIOB, LCD_RS_Pin|LCD_RW_Pin|LCD_E_Pin|LCD_D4_Pin
                          |LCD_D5_Pin|LCD_D6_Pin|LCD_D7_Pin|LCD_BL_Pin, GPIO_PIN_RESET);

  /*Configure GPIO pin : ENCODER_A_Pin */
  GPIO_InitStruct.Pin = ENCODER_A_Pin;
  GPIO_InitStruct.Mode = GPIO_MODE_IT_RISING;
  GPIO_InitStruct.Pull = GPIO_NOPULL;
  HAL_GPIO_Init(ENCODER_A_GPIO_Port, &GPIO_InitStruct);

  /*Configure GPIO pin : ENCODER_B_Pin */
  GPIO_InitStruct.Pin = ENCODER_B_Pin;
  GPIO_InitStruct.Mode = GPIO_MODE_INPUT;
  GPIO_InitStruct.Pull = GPIO_NOPULL;
  HAL_GPIO_Init(ENCODER_B_GPIO_Port, &GPIO_InitStruct);

  /*Configure GPIO pins : DOTMATRIX_R_RST_Pin DOTMATRIX_R_CLK_Pin DOTMATRIX_C_DT_Pin DOTMATRIX_C_CLK_Pin
                           DOTMATRIX_C_LD_Pin LED_RED_Pin LED_GREEN_Pin LED_BLUE_Pin */
  GPIO_InitStruct.Pin = DOTMATRIX_R_RST_Pin|DOTMATRIX_R_CLK_Pin|DOTMATRIX_C_DT_Pin|DOTMATRIX_C_CLK_Pin
                          |DOTMATRIX_C_LD_Pin|LED_RED_Pin|LED_GREEN_Pin|LED_BLUE_Pin;
  GPIO_InitStruct.Mode = GPIO_MODE_OUTPUT_PP;
  GPIO_InitStruct.Pull = GPIO_NOPULL;
  GPIO_InitStruct.Speed = GPIO_SPEED_FREQ_LOW;
  HAL_GPIO_Init(GPIOC, &GPIO_InitStruct);

  /*Configure GPIO pin : BUZZER_Pin */
  GPIO_InitStruct.Pin = BUZZER_Pin;
  GPIO_InitStruct.Mode = GPIO_MODE_OUTPUT_PP;
  GPIO_InitStruct.Pull = GPIO_NOPULL;
  GPIO_InitStruct.Speed = GPIO_SPEED_FREQ_LOW;
  HAL_GPIO_Init(BUZZER_GPIO_Port, &GPIO_InitStruct);

  /*Configure GPIO pins : BTN1_Pin BTN2_Pin BTN3_Pin BTN4_Pin */
  GPIO_InitStruct.Pin = BTN1_Pin|BTN2_Pin|BTN3_Pin|BTN4_Pin;
  GPIO_InitStruct.Mode = GPIO_MODE_INPUT;
  GPIO_InitStruct.Pull = GPIO_NOPULL;
  HAL_GPIO_Init(GPIOA, &GPIO_InitStruct);

  /*Configure GPIO pins : LCD_RS_Pin LCD_RW_Pin LCD_E_Pin LCD_D4_Pin
                           LCD_D5_Pin LCD_D6_Pin LCD_D7_Pin LCD_BL_Pin */
  GPIO_InitStruct.Pin = LCD_RS_Pin|LCD_RW_Pin|LCD_E_Pin|LCD_D4_Pin
                          |LCD_D5_Pin|LCD_D6_Pin|LCD_D7_Pin|LCD_BL_Pin;
  GPIO_InitStruct.Mode = GPIO_MODE_OUTPUT_PP;
  GPIO_InitStruct.Pull = GPIO_NOPULL;
  GPIO_InitStruct.Speed = GPIO_SPEED_FREQ_LOW;
  HAL_GPIO_Init(GPIOB, &GPIO_InitStruct);

  /* EXTI interrupt init*/
  HAL_NVIC_SetPriority(EXTI0_1_IRQn, 3, 0);
  HAL_NVIC_EnableIRQ(EXTI0_1_IRQn);

}

void StartDefaultTask(void const * argument)
{

  for(;;)
  {
    osDelay(1);
  }
}

void DotMatrixTask(void const * argument)
{
  /* USER CODE BEGIN DotMatrixTask */
  /* Infinite loop */
  for(;;)
  {
    showTextRTOS("E-TECH");
  }
  /* USER CODE END DotMatrixTask */
}

void LCDTask(void const * argument)
{
  /* USER CODE BEGIN LCDTask */
  /* Infinite loop */
  for(;;)
  {
    if (HAL_GPIO_ReadPin(BTN4_GPIO_Port, BTN4_Pin) == 0) {
      while(HAL_GPIO_ReadPin(BTN4_GPIO_Port, BTN4_Pin) == 0) osDelay(20);

      if (state == 0) {
        state = 1;
      } else if (state == 1) {
        state = 0;
      }
      lcd_clear();
    }

    char buff[16];

    if (state == 0) {
      uint8_t h, m, s, dd, mm, yy;

      read_time(&h, &m, &s, &dd, &mm, &yy);

      sprintf(buff, "Date: %d/%d/%d      ", dd, mm, yy + 1900);
      lcd_set_cursor(1, 0);
      lcd_print(buff);

      sprintf(buff, "Time: %02d:%02d:%02d", h, m, s);
      lcd_set_cursor(2, 0);
      lcd_print(buff);
    } else if (state == 1) {
      sprintf(buff, "X: %d  Y: %d    ", accelerometer_value[0], accelerometer_value[1]);
		  lcd_set_cursor(1, 0);
		  lcd_print(buff);

		  sprintf(buff, "Z: %d    ", accelerometer_value[2]);
		  lcd_set_cursor(2, 0);
		  lcd_print(buff);
    }

    osDelay(20);
  }
  /* USER CODE END LCDTask */
}

void SoundTask(void const * argument)
{
  /* USER CODE BEGIN SoundTask */
  /* Infinite loop */
  for(;;)
  {
    // A
    if (HAL_GPIO_ReadPin(BTN1_GPIO_Port, BTN1_Pin) == 0) {
      while(HAL_GPIO_ReadPin(BTN1_GPIO_Port, BTN1_Pin) == 0) osDelay(10);

      for(int x=0;x<100;x++) {
        HAL_GPIO_TogglePin(BUZZER_GPIO_Port, BUZZER_Pin);
        osDelay(1);
      }
      HAL_GPIO_WritePin(BUZZER_GPIO_Port, BUZZER_Pin, 0);
    }

    // B
    if (HAL_GPIO_ReadPin(BTN2_GPIO_Port, BTN2_Pin) == 0) {
      while(HAL_GPIO_ReadPin(BTN2_GPIO_Port, BTN2_Pin) == 0) osDelay(10);

      for(int x=0;x<300;x++) {
        HAL_GPIO_TogglePin(BUZZER_GPIO_Port, BUZZER_Pin);
        osDelay(1);
      }
      HAL_GPIO_WritePin(BUZZER_GPIO_Port, BUZZER_Pin, 0);
    }

    // C
    if (HAL_GPIO_ReadPin(BTN3_GPIO_Port, BTN3_Pin) == 0) {
      while(HAL_GPIO_ReadPin(BTN3_GPIO_Port, BTN3_Pin) == 0) osDelay(10);

      for(int x=0;x<600;x++) {
        HAL_GPIO_TogglePin(BUZZER_GPIO_Port, BUZZER_Pin);
        osDelay(1);
      }
      HAL_GPIO_WritePin(BUZZER_GPIO_Port, BUZZER_Pin, 0);
    }

    osDelay(1);
  }
  /* USER CODE END SoundTask */
}

void Error_Handler(void)
{
}

/************************ (C) COPYRIGHT STMicroelectronics *****END OF FILE****/
